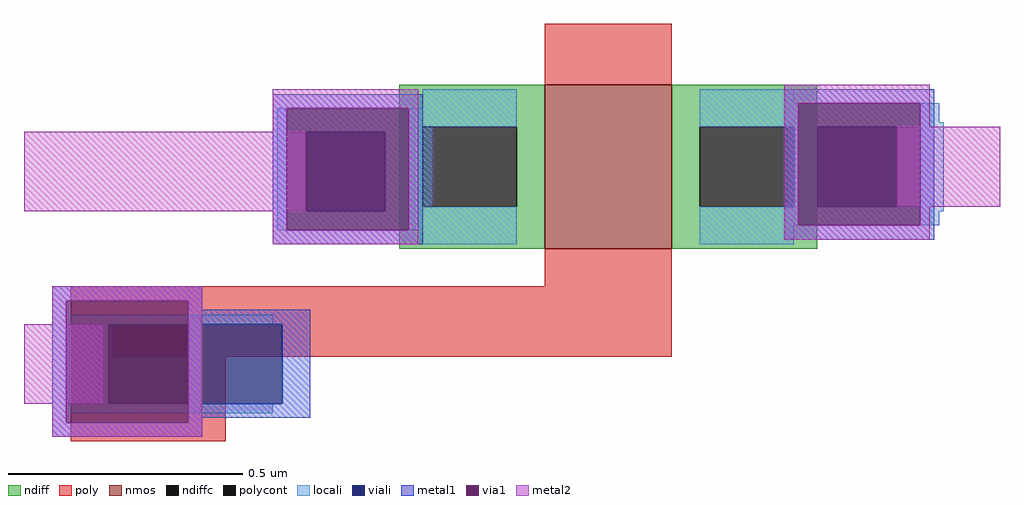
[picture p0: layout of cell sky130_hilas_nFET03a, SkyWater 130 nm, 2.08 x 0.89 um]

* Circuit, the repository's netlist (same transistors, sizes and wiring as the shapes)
* Copyright 2020 The Hilas PDK Authors
* 
* This file is part of HILAS.
* 
* HILAS is free software: you can redistribute it and/or modify
* it under the terms of the GNU Lesser General Public License as published by
* the Free Software Foundation, version 3 of the License.
* 
* HILAS is distributed in the hope that it will be useful,
* but WITHOUT ANY WARRANTY; without even the implied warranty of
* MERCHANTABILITY or FITNESS FOR A PARTICULAR PURPOSE.  See the
* GNU Lesser General Public License for more details.
* 
* You should have received a copy of the GNU Lesser General Public License
* along with HILAS.  If not, see <https://www.gnu.org/licenses/>.
* 
* Licensed under the Lesser General Public License, Version 3.0 (the "License");
* you may not use this file except in compliance with the License.
* You may obtain a copy of the License at
* 
* https://www.gnu.org/licenses/lgpl-3.0.en.html
* 
* Unless required by applicable law or agreed to in writing, software
* distributed under the License is distributed on an "AS IS" BASIS,
* WITHOUT WARRANTIES OR CONDITIONS OF ANY KIND, either express or implied.
* See the License for the specific language governing permissions and
* limitations under the License.
* 
* SPDX-License-Identifier: LGPL-3.0
* 
* 

* NGSPICE file created from sky130_hilas_nFET03a.ext - technology: sky130A


* Top level circuit sky130_hilas_nFET03a

X0 m2_150_6# a_n184_n58# m2_n222_4# SUB sky130_fd_pr__nfet_01v8 w=350000u l=270000u
.end

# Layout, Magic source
magic
tech sky130A
<< nmos >>
rect 0 -6 27 29
<< ndiff >>
rect -31 20 0 29
rect -31 3 -26 20
rect -6 3 0 20
rect -31 -6 0 3
rect 27 20 58 29
rect 27 3 33 20
rect 53 3 58 20
rect 27 -6 58 3
<< ndiffc >>
rect -26 3 -6 20
rect 33 3 53 20
<< poly >>
rect 0 29 27 42
rect 0 -14 27 -6
rect -92 -29 27 -14
<< locali >>
rect -26 20 -6 28
rect -26 -5 -6 3
rect 33 20 53 28
rect 33 -5 53 3
<< metal2 >>
rect -111 2 -51 19
rect 75 3 97 20
rect -111 -39 -94 -22
use sky130_hilas_poly2m2  sky130_hilas_poly2m2_0
transform 0 -1 -76 1 0 -38
box -9 -26 24 29
use sky130_hilas_li2m2  sky130_hilas_li2m2_1
transform 1 0 -44 0 1 10
box -14 -15 20 18
use sky130_hilas_li2m2  sky130_hilas_li2m2_0
transform 1 0 65 0 1 11
box -14 -15 20 18
<< end >>

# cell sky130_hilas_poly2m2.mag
magic
tech sky130A
<< poly >>
rect -9 17 24 25
rect -9 0 -1 17
rect 16 0 24 17
rect -9 -8 24 0
<< polycont >>
rect -1 0 16 17
<< locali >>
rect -3 17 18 25
rect -3 0 -1 17
rect 16 0 18 17
rect -3 -3 18 0
rect -3 -18 -1 -3
rect 16 -18 18 -3
<< viali >>
rect -1 -20 16 -3
<< metal1 >>
rect -8 26 24 29
rect -8 0 -5 26
rect 21 0 24 26
rect -8 -3 24 0
rect -4 -20 -1 -3
rect 16 -20 19 -3
rect -4 -26 19 -20
<< via1 >>
rect -5 0 21 26
<< metal2 >>
rect -8 26 24 29
rect -8 0 -5 26
rect 21 0 24 26
rect -8 -3 24 0
<< end >>

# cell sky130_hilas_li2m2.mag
magic
tech sky130A
<< locali >>
rect -13 10 19 14
rect -13 9 20 10
rect -13 -8 -7 9
rect 10 -8 20 9
rect -13 -9 20 -8
rect -13 -12 19 -9
<< viali >>
rect -7 -8 10 9
<< metal1 >>
rect -14 14 18 17
rect -14 -12 -11 14
rect 15 -12 18 14
rect -14 -15 18 -12
<< via1 >>
rect -11 9 15 14
rect -11 -8 -7 9
rect -7 -8 10 9
rect 10 -8 15 9
rect -11 -12 15 -8
<< metal2 >>
rect -14 14 17 18
rect -14 -12 -11 14
rect 15 -12 17 14
rect -14 -15 17 -12
<< end >>
